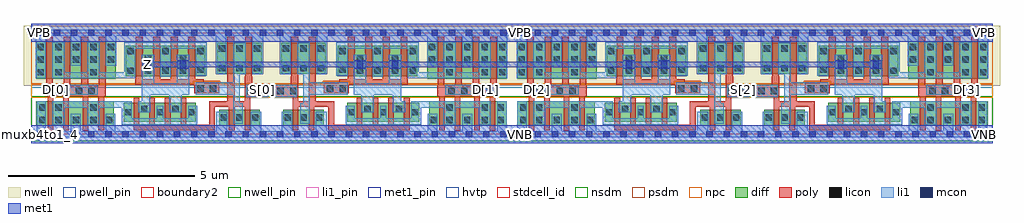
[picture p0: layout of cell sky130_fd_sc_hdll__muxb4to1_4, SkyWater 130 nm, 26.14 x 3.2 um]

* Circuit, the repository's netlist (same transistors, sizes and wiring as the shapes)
* Copyright 2020 The SkyWater PDK Authors
*
* Licensed under the Apache License, Version 2.0 (the "License");
* you may not use this file except in compliance with the License.
* You may obtain a copy of the License at
*
*     https://www.apache.org/licenses/LICENSE-2.0
*
* Unless required by applicable law or agreed to in writing, software
* distributed under the License is distributed on an "AS IS" BASIS,
* WITHOUT WARRANTIES OR CONDITIONS OF ANY KIND, either express or implied.
* See the License for the specific language governing permissions and
* limitations under the License.
*
* SPDX-License-Identifier: Apache-2.0

.SUBCKT sky130_fd_sc_hdll__muxb4to1_4 D[3] D[2] D[1] D[0] S[3] S[2] S[1] S[0] VGND VNB VPB VPWR Z
*.PININFO D[3]:I D[2]:I D[1]:I D[0]:I S[3]:I S[2]:I S[1]:I S[0]:I
*.PININFO VGND:I VNB:I VPB:I VPWR:I Z:O
MMNA00 Z S[0] net87 VNB sky130_fd_pr__nfet_01v8 m=4 w=0.52U l=0.15U mult=1 sa=0.265
+ sb=0.265 sd=0.28 area=0.063 perim=1.14
MMNA01 net87 D[0] VGND VNB sky130_fd_pr__nfet_01v8 m=4 w=0.65U l=0.15U mult=1 sa=0.265
+ sb=0.265 sd=0.28 area=0.063 perim=1.14
MMIN1 SB0 S[0] VGND VNB sky130_fd_pr__nfet_01v8 m=2 w=0.42U l=0.15U mult=1 sa=0.265
+ sb=0.265 sd=0.28 area=0.063 perim=1.14
MI30 Z S[2] net51 VNB sky130_fd_pr__nfet_01v8 m=4 w=0.52U l=0.15U mult=1 sa=0.265
+ sb=0.265 sd=0.28 area=0.063 perim=1.14
MI29 net51 D[2] VGND VNB sky130_fd_pr__nfet_01v8 m=4 w=0.65U l=0.15U mult=1 sa=0.265
+ sb=0.265 sd=0.28 area=0.063 perim=1.14
MI28 SB2 S[2] VGND VNB sky130_fd_pr__nfet_01v8 m=2 w=0.42U l=0.15U mult=1 sa=0.265
+ sb=0.265 sd=0.28 area=0.063 perim=1.14
MI27 SB3 S[3] VGND VNB sky130_fd_pr__nfet_01v8 m=2 w=0.42U l=0.15U mult=1 sa=0.265
+ sb=0.265 sd=0.28 area=0.063 perim=1.14
MI26 net63 D[3] VGND VNB sky130_fd_pr__nfet_01v8 m=4 w=0.65U l=0.15U mult=1 sa=0.265
+ sb=0.265 sd=0.28 area=0.063 perim=1.14
MI25 Z S[3] net63 VNB sky130_fd_pr__nfet_01v8 m=4 w=0.52U l=0.15U mult=1 sa=0.265
+ sb=0.265 sd=0.28 area=0.063 perim=1.14
MI13 Z S[1] net75 VNB sky130_fd_pr__nfet_01v8 m=4 w=0.52U l=0.15U mult=1 sa=0.265
+ sb=0.265 sd=0.28 area=0.063 perim=1.14
MI12 net75 D[1] VGND VNB sky130_fd_pr__nfet_01v8 m=4 w=0.65U l=0.15U mult=1 sa=0.265
+ sb=0.265 sd=0.28 area=0.063 perim=1.14
MI11 SB1 S[1] VGND VNB sky130_fd_pr__nfet_01v8 m=2 w=0.42U l=0.15U mult=1 sa=0.265
+ sb=0.265 sd=0.28 area=0.063 perim=1.14
MI35 net99 SB2 Z VPB sky130_fd_pr__pfet_01v8_hvt m=4 w=0.82U l=0.18U mult=1 sa=0.265
+ sb=0.265 sd=0.28 area=0.063 perim=1.14
MI34 SB2 S[2] VPWR VPB sky130_fd_pr__pfet_01v8_hvt m=2 w=0.82U l=0.18U mult=1 sa=0.265
+ sb=0.265 sd=0.28 area=0.063 perim=1.14
MMPA00 VPWR D[0] net135 VPB sky130_fd_pr__pfet_01v8_hvt m=4 w=1.0U l=0.18U mult=1
+ sa=0.265 sb=0.265 sd=0.28 area=0.063 perim=1.14
MMPA01 net135 SB0 Z VPB sky130_fd_pr__pfet_01v8_hvt m=4 w=0.82U l=0.18U mult=1
+ sa=0.265 sb=0.265 sd=0.28 area=0.063 perim=1.14
MI33 SB3 S[3] VPWR VPB sky130_fd_pr__pfet_01v8_hvt m=2 w=0.82U l=0.18U mult=1 sa=0.265
+ sb=0.265 sd=0.28 area=0.063 perim=1.14
MI32 net111 SB3 Z VPB sky130_fd_pr__pfet_01v8_hvt m=4 w=0.82U l=0.18U mult=1 sa=0.265
+ sb=0.265 sd=0.28 area=0.063 perim=1.14
MI31 VPWR D[3] net111 VPB sky130_fd_pr__pfet_01v8_hvt m=4 w=1.0U l=0.18U mult=1
+ sa=0.265 sb=0.265 sd=0.28 area=0.063 perim=1.14
MMIP1 SB0 S[0] VPWR VPB sky130_fd_pr__pfet_01v8_hvt m=2 w=0.82U l=0.18U mult=1
+ sa=0.265 sb=0.265 sd=0.28 area=0.063 perim=1.14
MI15 net123 SB1 Z VPB sky130_fd_pr__pfet_01v8_hvt m=4 w=0.82U l=0.18U mult=1 sa=0.265
+ sb=0.265 sd=0.28 area=0.063 perim=1.14
MI16 VPWR D[1] net123 VPB sky130_fd_pr__pfet_01v8_hvt m=4 w=1.0U l=0.18U mult=1
+ sa=0.265 sb=0.265 sd=0.28 area=0.063 perim=1.14
MI14 SB1 S[1] VPWR VPB sky130_fd_pr__pfet_01v8_hvt m=2 w=0.82U l=0.18U mult=1 sa=0.265
+ sb=0.265 sd=0.28 area=0.063 perim=1.14
MI36 VPWR D[2] net99 VPB sky130_fd_pr__pfet_01v8_hvt m=4 w=1.0U l=0.18U mult=1
+ sa=0.265 sb=0.265 sd=0.28 area=0.063 perim=1.14
.ENDS sky130_fd_sc_hdll__muxb4to1_4

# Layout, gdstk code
import gdstk
lib = gdstk.Library(unit=1e-6, precision=1e-09)
def R(c, l, rs):  # rectangles x0, y0, x1, y1
    for r in rs: c.add(gdstk.rectangle(r[:2], r[2:], *l))
def A(c, l, x, y, w, h, nx, ny, dx, dy):  # array of equal rectangles
    R(c, l, [(x+i*dx, y+j*dy, x+i*dx+w, y+j*dy+h) for i in range(nx) for j in range(ny)])
def P(c, l, *ps):  # polygons
    for p in ps: c.add(gdstk.Polygon(p, *l))
nwell_pin = (64, 16)
nwell = (64, 20)
diff = (65, 20)
poly = (66, 20)
licon = (66, 44)
li1_pin = (67, 16)
li1 = (67, 20)
mcon = (67, 44)
met1_pin = (68, 16)
met1 = (68, 20)
hvtp = (78, 44)
stdcell_id = (81, 4)
nsdm = (93, 44)
psdm = (94, 20)
npc = (95, 20)
pwell_pin = (122, 16)
boundary2 = (236, 0)

sky130_fd_sc_hdll__muxb4 = lib.new_cell('sky130_fd_sc_hdll__muxb4to1_4')
R(sky130_fd_sc_hdll__muxb4, nwell_pin, [(0.145,2.635,0.315,2.805), (0.145,2.635,0.315,2.805), (12.565,2.635,12.735,2.805), (13.025,2.635,13.195,2.805), (25.445,2.635,25.615,2.805)])
A(sky130_fd_sc_hdll__muxb4, nwell, -0.19, 1.305, 6.82, 1.605, 4, 1, 6.44, 0)
R(sky130_fd_sc_hdll__muxb4, diff, [(0.135,0.235,1.31,0.885), (1.09,0.235,2.215,0.885), (5.04,0.235,6.13,0.655), (6.75,0.235,7.84,0.655), (10.665,0.235,11.79,0.885), (11.57,0.235,12.745,0.885), (13.015,0.235,14.19,0.885), (13.97,0.235,15.095,0.885), (17.92,0.235,19.01,0.655), (19.63,0.235,20.72,0.655), (23.545,0.235,24.67,0.885), (24.45,0.235,25.625,0.885), (2.485,0.33,3.62,0.85), (3.325,0.33,4.415,0.85), (8.465,0.33,9.555,0.85), (9.26,0.33,10.395,0.85), (15.365,0.33,16.5,0.85), (16.205,0.33,17.295,0.85), (21.345,0.33,22.435,0.85), (22.14,0.33,23.275,0.85), (0.135,1.485,2.265,2.485), (10.615,1.485,12.745,2.485), (13.015,1.485,15.145,2.485), (23.495,1.485,25.625,2.485), (2.535,1.555,4.665,2.375), (8.215,1.555,10.345,2.375), (15.415,1.555,17.545,2.375), (21.095,1.555,23.225,2.375), (4.99,1.625,6.18,2.445), (6.7,1.625,7.89,2.445), (17.87,1.625,19.06,2.445), (19.58,1.625,20.77,2.445)])
A(sky130_fd_sc_hdll__muxb4, poly, 2.745, 0.105, 0.15, 0.875, 4, 1, 0.42, 0)
A(sky130_fd_sc_hdll__muxb4, poly, 8.725, 0.105, 0.15, 0.875, 4, 1, 0.42, 0)
A(sky130_fd_sc_hdll__muxb4, poly, 15.625, 0.105, 0.15, 0.875, 4, 1, 0.42, 0)
A(sky130_fd_sc_hdll__muxb4, poly, 21.605, 0.105, 0.15, 0.875, 4, 1, 0.42, 0)
R(sky130_fd_sc_hdll__muxb4, poly, [(2.745,0.105,4.865,0.255), (4.765,0.105,4.915,0.885), (5.3,0.105,5.45,0.885), (5.72,0.105,5.87,0.995), (7.01,0.105,7.16,0.995), (7.43,0.105,7.58,0.885), (7.965,0.105,8.115,0.885), (8.015,0.105,10.135,0.255), (15.625,0.105,17.745,0.255), (17.645,0.105,17.795,0.885), (18.18,0.105,18.33,0.885), (18.6,0.105,18.75,0.995), (19.89,0.105,20.04,0.995), (20.31,0.105,20.46,0.885), (20.845,0.105,20.995,0.885), (20.895,0.105,23.015,0.255), (4.765,0.735,5.87,0.885), (7.01,0.735,8.115,0.885), (17.645,0.735,18.75,0.885), (19.89,0.735,20.995,0.885), (5.72,0.995,5.99,1.325), (5.855,0.995,6.335,1.325), (6.545,0.995,7.025,1.325), (6.89,0.995,7.16,1.325), (18.6,0.995,18.87,1.325), (18.735,0.995,19.215,1.325), (19.425,0.995,19.905,1.325), (19.77,0.995,20.04,1.325), (4.37,1.095,4.725,1.365), (4.71,1.095,5.04,1.365), (7.84,1.095,8.17,1.365), (8.155,1.095,8.51,1.365), (17.25,1.095,17.605,1.365), (17.59,1.095,17.92,1.365), (20.72,1.095,21.05,1.365), (21.035,1.095,21.39,1.365), (2.795,1.325,4.625,1.475), (8.255,1.325,10.085,1.475), (15.675,1.325,17.505,1.475), (21.135,1.325,22.965,1.475)])
P(sky130_fd_sc_hdll__muxb4, poly, [(19.84,1.55),(19.85,1.55),(19.85,2.615),(20.03,2.615),(20.03,1.55),(20.04,1.55),(20.04,1.195),(19.84,1.195)],
  [(21.355,1.41),(21.365,1.41),(21.365,2.615),(21.545,2.615),(21.545,1.41),(21.555,1.41),(21.555,1.325),(21.355,1.325)],
  [(20.51,1.55),(20.5,1.55),(20.5,2.615),(20.32,2.615),(20.32,1.55),(20.31,1.55),(20.31,0.885),(20.51,0.885)],
  [(21.825,1.41),(21.835,1.41),(21.835,2.615),(22.015,2.615),(22.015,1.41),(22.025,1.41),(22.025,1.325),(21.825,1.325)],
  [(22.295,1.41),(22.305,1.41),(22.305,2.615),(22.485,2.615),(22.485,1.41),(22.495,1.41),(22.495,1.325),(22.295,1.325)],
  [(22.765,1.41),(22.775,1.41),(22.775,2.615),(22.955,2.615),(22.955,1.41),(22.965,1.41),(22.965,1.325),(22.765,1.325)],
  [(23.755,1.295),(23.765,1.295),(23.765,2.615),(23.945,2.615),(23.945,1.295),(24.235,1.295),(24.235,2.615),(24.415,2.615),(24.415,1.295),(24.725,1.295),(24.725,1.025),(24.375,1.025),(24.375,0.095),(24.225,0.095),(24.225,1.025),(23.955,1.025),(23.955,0.105),(23.805,0.105),(23.805,1.025),(23.755,1.025)],
  [(24.695,1.295),(24.705,1.295),(24.705,2.615),(24.885,2.615),(24.885,1.295),(25.175,1.295),(25.175,2.615),(25.355,2.615),(25.355,1.295),(25.365,1.295),(25.365,1.025),(25.315,1.025),(25.315,0.095),(25.165,0.095),(25.165,1.025),(24.895,1.025),(24.895,0.105),(24.745,0.105),(24.745,1.025),(24.695,1.025)],
  [(18.8,1.55),(18.79,1.55),(18.79,2.615),(18.61,2.615),(18.61,1.55),(18.6,1.55),(18.6,1.195),(18.8,1.195)],
  [(17.285,1.41),(17.275,1.41),(17.275,2.615),(17.095,2.615),(17.095,1.41),(17.085,1.41),(17.085,1.325),(17.285,1.325)],
  [(18.13,1.55),(18.14,1.55),(18.14,2.615),(18.32,2.615),(18.32,1.55),(18.33,1.55),(18.33,0.885),(18.13,0.885)],
  [(16.815,1.41),(16.805,1.41),(16.805,2.615),(16.625,2.615),(16.625,1.41),(16.615,1.41),(16.615,1.325),(16.815,1.325)],
  [(16.345,1.41),(16.335,1.41),(16.335,2.615),(16.155,2.615),(16.155,1.41),(16.145,1.41),(16.145,1.325),(16.345,1.325)],
  [(15.875,1.41),(15.865,1.41),(15.865,2.615),(15.685,2.615),(15.685,1.41),(15.675,1.41),(15.675,1.325),(15.875,1.325)],
  [(14.885,1.295),(14.875,1.295),(14.875,2.615),(14.695,2.615),(14.695,1.295),(14.405,1.295),(14.405,2.615),(14.225,2.615),(14.225,1.295),(13.915,1.295),(13.915,1.025),(14.265,1.025),(14.265,0.095),(14.415,0.095),(14.415,1.025),(14.685,1.025),(14.685,0.105),(14.835,0.105),(14.835,1.025),(14.885,1.025)],
  [(13.945,1.295),(13.935,1.295),(13.935,2.615),(13.755,2.615),(13.755,1.295),(13.465,1.295),(13.465,2.615),(13.285,2.615),(13.285,1.295),(13.275,1.295),(13.275,1.025),(13.325,1.025),(13.325,0.095),(13.475,0.095),(13.475,1.025),(13.745,1.025),(13.745,0.105),(13.895,0.105),(13.895,1.025),(13.945,1.025)],
  [(6.96,1.55),(6.97,1.55),(6.97,2.615),(7.15,2.615),(7.15,1.55),(7.16,1.55),(7.16,1.195),(6.96,1.195)],
  [(8.475,1.41),(8.485,1.41),(8.485,2.615),(8.665,2.615),(8.665,1.41),(8.675,1.41),(8.675,1.325),(8.475,1.325)],
  [(7.63,1.55),(7.62,1.55),(7.62,2.615),(7.44,2.615),(7.44,1.55),(7.43,1.55),(7.43,0.885),(7.63,0.885)],
  [(8.945,1.41),(8.955,1.41),(8.955,2.615),(9.135,2.615),(9.135,1.41),(9.145,1.41),(9.145,1.325),(8.945,1.325)],
  [(9.415,1.41),(9.425,1.41),(9.425,2.615),(9.605,2.615),(9.605,1.41),(9.615,1.41),(9.615,1.325),(9.415,1.325)],
  [(9.885,1.41),(9.895,1.41),(9.895,2.615),(10.075,2.615),(10.075,1.41),(10.085,1.41),(10.085,1.325),(9.885,1.325)],
  [(10.875,1.295),(10.885,1.295),(10.885,2.615),(11.065,2.615),(11.065,1.295),(11.355,1.295),(11.355,2.615),(11.535,2.615),(11.535,1.295),(11.845,1.295),(11.845,1.025),(11.495,1.025),(11.495,0.095),(11.345,0.095),(11.345,1.025),(11.075,1.025),(11.075,0.105),(10.925,0.105),(10.925,1.025),(10.875,1.025)],
  [(11.815,1.295),(11.825,1.295),(11.825,2.615),(12.005,2.615),(12.005,1.295),(12.295,1.295),(12.295,2.615),(12.475,2.615),(12.475,1.295),(12.485,1.295),(12.485,1.025),(12.435,1.025),(12.435,0.095),(12.285,0.095),(12.285,1.025),(12.015,1.025),(12.015,0.105),(11.865,0.105),(11.865,1.025),(11.815,1.025)],
  [(5.92,1.55),(5.91,1.55),(5.91,2.615),(5.73,2.615),(5.73,1.55),(5.72,1.55),(5.72,1.195),(5.92,1.195)],
  [(4.405,1.41),(4.395,1.41),(4.395,2.615),(4.215,2.615),(4.215,1.41),(4.205,1.41),(4.205,1.325),(4.405,1.325)],
  [(5.25,1.55),(5.26,1.55),(5.26,2.615),(5.44,2.615),(5.44,1.55),(5.45,1.55),(5.45,0.885),(5.25,0.885)],
  [(3.935,1.41),(3.925,1.41),(3.925,2.615),(3.745,2.615),(3.745,1.41),(3.735,1.41),(3.735,1.325),(3.935,1.325)],
  [(3.465,1.41),(3.455,1.41),(3.455,2.615),(3.275,2.615),(3.275,1.41),(3.265,1.41),(3.265,1.325),(3.465,1.325)],
  [(2.995,1.41),(2.985,1.41),(2.985,2.615),(2.805,2.615),(2.805,1.41),(2.795,1.41),(2.795,1.325),(2.995,1.325)],
  [(2.005,1.295),(1.995,1.295),(1.995,2.615),(1.815,2.615),(1.815,1.295),(1.525,1.295),(1.525,2.615),(1.345,2.615),(1.345,1.295),(1.035,1.295),(1.035,1.025),(1.385,1.025),(1.385,0.095),(1.535,0.095),(1.535,1.025),(1.805,1.025),(1.805,0.105),(1.955,0.105),(1.955,1.025),(2.005,1.025)],
  [(1.065,1.295),(1.055,1.295),(1.055,2.615),(0.875,2.615),(0.875,1.295),(0.585,1.295),(0.585,2.615),(0.405,2.615),(0.405,1.295),(0.395,1.295),(0.395,1.025),(0.445,1.025),(0.445,0.095),(0.595,0.095),(0.595,1.025),(0.865,1.025),(0.865,0.105),(1.015,0.105),(1.015,1.025),(1.065,1.025)])
A(sky130_fd_sc_hdll__muxb4, licon, 0.645, 0.295, 0.17, 0.17, 3, 1, 0.47, 0)
A(sky130_fd_sc_hdll__muxb4, licon, 11.125, 0.295, 0.17, 0.17, 3, 1, 0.47, 0)
A(sky130_fd_sc_hdll__muxb4, licon, 13.525, 0.295, 0.17, 0.17, 3, 1, 0.47, 0)
A(sky130_fd_sc_hdll__muxb4, licon, 24.005, 0.295, 0.17, 0.17, 3, 1, 0.47, 0)
A(sky130_fd_sc_hdll__muxb4, licon, 5.08, 0.36, 0.17, 0.17, 3, 1, 0.42, 0)
A(sky130_fd_sc_hdll__muxb4, licon, 6.79, 0.36, 0.17, 0.17, 3, 1, 0.42, 0)
A(sky130_fd_sc_hdll__muxb4, licon, 17.96, 0.36, 0.17, 0.17, 3, 1, 0.42, 0)
A(sky130_fd_sc_hdll__muxb4, licon, 19.67, 0.36, 0.17, 0.17, 3, 1, 0.42, 0)
A(sky130_fd_sc_hdll__muxb4, licon, 2.525, 0.505, 0.17, 0.17, 3, 1, 0.84, 0)
A(sky130_fd_sc_hdll__muxb4, licon, 8.505, 0.505, 0.17, 0.17, 3, 1, 0.84, 0)
A(sky130_fd_sc_hdll__muxb4, licon, 15.405, 0.505, 0.17, 0.17, 3, 1, 0.84, 0)
A(sky130_fd_sc_hdll__muxb4, licon, 21.385, 0.505, 0.17, 0.17, 3, 1, 0.84, 0)
A(sky130_fd_sc_hdll__muxb4, licon, 0.515, 1.075, 0.17, 0.17, 4, 1, 0.34, 0)
A(sky130_fd_sc_hdll__muxb4, licon, 11.175, 1.075, 0.17, 0.17, 4, 1, 0.34, 0)
A(sky130_fd_sc_hdll__muxb4, licon, 13.395, 1.075, 0.17, 0.17, 4, 1, 0.34, 0)
A(sky130_fd_sc_hdll__muxb4, licon, 24.055, 1.075, 0.17, 0.17, 4, 1, 0.34, 0)
A(sky130_fd_sc_hdll__muxb4, licon, 2.575, 1.615, 0.17, 0.17, 4, 1, 0.47, 0)
A(sky130_fd_sc_hdll__muxb4, licon, 8.725, 1.615, 0.17, 0.17, 4, 1, 0.47, 0)
A(sky130_fd_sc_hdll__muxb4, licon, 15.455, 1.615, 0.17, 0.17, 4, 1, 0.47, 0)
A(sky130_fd_sc_hdll__muxb4, licon, 21.605, 1.615, 0.17, 0.17, 4, 1, 0.47, 0)
A(sky130_fd_sc_hdll__muxb4, licon, 5.03, 1.685, 0.17, 0.17, 3, 2, 0.47, 0.53)
A(sky130_fd_sc_hdll__muxb4, licon, 6.74, 1.685, 0.17, 0.17, 3, 2, 0.47, 0.53)
A(sky130_fd_sc_hdll__muxb4, licon, 17.91, 1.685, 0.17, 0.17, 3, 2, 0.47, 0.53)
A(sky130_fd_sc_hdll__muxb4, licon, 19.62, 1.685, 0.17, 0.17, 3, 2, 0.47, 0.53)
A(sky130_fd_sc_hdll__muxb4, licon, 0.175, 1.915, 0.17, 0.17, 5, 2, 0.47, 0.34)
A(sky130_fd_sc_hdll__muxb4, licon, 10.655, 1.915, 0.17, 0.17, 5, 2, 0.47, 0.34)
A(sky130_fd_sc_hdll__muxb4, licon, 13.055, 1.915, 0.17, 0.17, 5, 2, 0.47, 0.34)
A(sky130_fd_sc_hdll__muxb4, licon, 23.535, 1.915, 0.17, 0.17, 5, 2, 0.47, 0.34)
A(sky130_fd_sc_hdll__muxb4, licon, 2.575, 2.145, 0.17, 0.17, 3, 1, 0.94, 0)
A(sky130_fd_sc_hdll__muxb4, licon, 8.255, 2.145, 0.17, 0.17, 3, 1, 0.94, 0)
A(sky130_fd_sc_hdll__muxb4, licon, 15.455, 2.145, 0.17, 0.17, 3, 1, 0.94, 0)
A(sky130_fd_sc_hdll__muxb4, licon, 21.135, 2.145, 0.17, 0.17, 3, 1, 0.94, 0)
R(sky130_fd_sc_hdll__muxb4, licon, [(0.225,0.295,0.395,0.465), (2.005,0.295,2.175,0.465), (10.705,0.295,10.875,0.465), (12.485,0.295,12.655,0.465), (13.105,0.295,13.275,0.465), (14.885,0.295,15.055,0.465), (23.585,0.295,23.755,0.465), (25.365,0.295,25.535,0.465), (2.945,0.595,3.115,0.765), (3.785,0.595,3.955,0.765), (8.925,0.595,9.095,0.765), (9.765,0.595,9.935,0.765), (15.825,0.595,15.995,0.765), (16.665,0.595,16.835,0.765), (21.805,0.595,21.975,0.765), (22.645,0.595,22.815,0.765), (0.225,0.635,0.395,0.805), (0.645,0.635,0.815,0.805), (1.585,0.635,1.755,0.805), (11.125,0.635,11.295,0.805), (12.065,0.635,12.235,0.805), (12.485,0.635,12.655,0.805), (13.105,0.635,13.275,0.805), (13.525,0.635,13.695,0.805), (14.465,0.635,14.635,0.805), (24.005,0.635,24.175,0.805), (24.945,0.635,25.115,0.805), (25.365,0.635,25.535,0.805), (5.775,1.075,5.945,1.245), (6.115,1.075,6.285,1.245), (6.595,1.075,6.765,1.245), (6.935,1.075,7.105,1.245), (18.655,1.075,18.825,1.245), (18.995,1.075,19.165,1.245), (19.475,1.075,19.645,1.245), (19.815,1.075,19.985,1.245), (4.45,1.145,4.62,1.315), (4.79,1.145,4.96,1.315), (7.92,1.145,8.09,1.315), (8.26,1.145,8.43,1.315), (17.33,1.145,17.5,1.315), (17.67,1.145,17.84,1.315), (20.8,1.145,20.97,1.315), (21.14,1.145,21.31,1.315), (0.175,1.575,0.345,1.745), (0.645,1.575,0.815,1.745), (1.585,1.575,1.755,1.745), (11.125,1.575,11.295,1.745), (12.065,1.575,12.235,1.745), (12.535,1.575,12.705,1.745), (13.055,1.575,13.225,1.745), (13.525,1.575,13.695,1.745), (14.465,1.575,14.635,1.745), (24.005,1.575,24.175,1.745), (24.945,1.575,25.115,1.745), (25.415,1.575,25.585,1.745), (4.455,1.645,4.625,1.815), (8.255,1.645,8.425,1.815), (17.335,1.645,17.505,1.815), (21.135,1.645,21.305,1.815), (3.045,1.955,3.215,2.125), (3.985,1.955,4.155,2.125), (8.725,1.955,8.895,2.125), (9.665,1.955,9.835,2.125), (15.925,1.955,16.095,2.125), (16.865,1.955,17.035,2.125), (21.605,1.955,21.775,2.125), (22.545,1.955,22.715,2.125)])
R(sky130_fd_sc_hdll__muxb4, li1_pin, [(0.605,1.105,0.775,1.275), (0.605,1.105,0.775,1.275), (6.125,1.105,6.295,1.275), (6.125,1.105,6.295,1.275), (6.585,1.105,6.755,1.275), (6.585,1.105,6.755,1.275), (12.105,1.105,12.275,1.275), (12.105,1.105,12.275,1.275), (13.485,1.105,13.655,1.275), (13.485,1.105,13.655,1.28), (19.005,1.105,19.175,1.275), (19.005,1.105,19.175,1.275), (19.465,1.105,19.635,1.275), (19.465,1.105,19.635,1.275), (24.985,1.105,25.155,1.275), (24.985,1.105,25.155,1.275)])
A(sky130_fd_sc_hdll__muxb4, li1, 0, -0.085, 6.44, 0.17, 4, 2, 6.44, 2.72)
R(sky130_fd_sc_hdll__muxb4, li1, [(0.145,0.085,0.395,0.885), (1.065,0.085,1.335,0.545), (2.005,0.085,2.255,0.545), (4.96,0.085,5.25,0.61), (5.88,0.085,6.17,0.61), (6.71,0.085,7,0.61), (7.63,0.085,7.92,0.61), (10.625,0.085,10.875,0.545), (11.545,0.085,11.815,0.545), (12.485,0.085,12.735,0.885), (13.025,0.085,13.275,0.885), (13.945,0.085,14.215,0.545), (14.885,0.085,15.135,0.545), (17.84,0.085,18.13,0.61), (18.76,0.085,19.05,0.61), (19.59,0.085,19.88,0.61), (20.51,0.085,20.8,0.61), (23.505,0.085,23.755,0.545), (24.425,0.085,24.695,0.545), (25.365,0.085,25.615,0.885), (5.76,0.995,6.355,1.325), (6.525,0.995,7.12,1.325), (18.64,0.995,19.235,1.325), (19.405,0.995,20,1.325), (0.395,1.055,1.785,1.325), (11.095,1.055,12.485,1.325), (13.275,1.055,14.665,1.325), (23.975,1.055,25.365,1.325), (4.405,1.065,5.42,1.395), (7.46,1.065,8.475,1.395), (17.285,1.065,18.3,1.395), (20.34,1.065,21.355,1.395), (0.125,1.495,0.395,2.635), (12.485,1.495,12.755,2.635), (13.005,1.495,13.275,2.635), (25.365,1.495,25.635,2.635), (4.95,1.605,5.225,2.635), (5.92,1.605,6.22,2.635), (6.66,1.605,6.96,2.635), (7.655,1.605,7.93,2.635), (17.83,1.605,18.105,2.635), (18.8,1.605,19.1,2.635), (19.54,1.605,19.84,2.635), (20.535,1.605,20.81,2.635), (1.065,1.835,1.335,2.635), (2.005,1.835,2.275,2.635), (10.605,1.835,10.875,2.635), (11.545,1.835,11.815,2.635), (13.945,1.835,14.215,2.635), (14.885,1.835,15.155,2.635), (23.485,1.835,23.755,2.635), (24.425,1.835,24.695,2.635)])
P(sky130_fd_sc_hdll__muxb4, li1, [(20.09,0.825),(20.17,0.825),(20.17,1.605),(20.01,1.605),(20.01,2.465),(20.34,2.465),(20.34,0.28),(20.09,0.28)],
  [(21.525,2.125),(21.855,2.125),(21.855,1.365),(22.465,1.365),(22.465,2.125),(22.795,2.125),(22.795,0.885),(22.895,0.885),(22.895,0.595),(22.565,0.595),(22.565,1.065),(22.055,1.065),(22.055,0.595),(21.725,0.595),(21.725,1.065),(21.525,1.065)],
  [(21.305,0.77),(21.555,0.77),(21.555,0.425),(22.225,0.425),(22.225,0.77),(22.395,0.77),(22.395,0.255),(21.305,0.255)],
  [(21.055,2.465),(23.265,2.465),(23.265,1.495),(22.965,1.495),(22.965,2.295),(22.295,2.295),(22.295,1.535),(22.025,1.535),(22.025,2.295),(21.355,2.295),(21.355,1.565),(21.055,1.565)],
  [(23.925,2.465),(24.255,2.465),(24.255,1.665),(24.865,1.665),(24.865,2.465),(25.195,2.465),(25.195,1.495),(23.925,1.495)],
  [(22.965,2.465),(23.265,2.465),(23.265,1.665),(23.925,1.665),(23.925,1.495),(22.965,1.495)],
  [(22.225,0.77),(22.395,0.77),(22.395,0.425),(23.065,0.425),(23.065,0.885),(25.195,0.885),(25.195,0.255),(24.865,0.255),(24.865,0.715),(24.255,0.715),(24.255,0.255),(23.925,0.255),(23.925,0.715),(23.335,0.715),(23.335,0.255),(22.225,0.255)],
  [(18.55,0.825),(18.47,0.825),(18.47,1.605),(18.63,1.605),(18.63,2.465),(18.3,2.465),(18.3,0.28),(18.55,0.28)],
  [(17.115,2.125),(16.785,2.125),(16.785,1.365),(16.175,1.365),(16.175,2.125),(15.845,2.125),(15.845,0.885),(15.745,0.885),(15.745,0.595),(16.075,0.595),(16.075,1.065),(16.585,1.065),(16.585,0.595),(16.915,0.595),(16.915,1.065),(17.115,1.065)],
  [(17.335,0.77),(17.085,0.77),(17.085,0.425),(16.415,0.425),(16.415,0.77),(16.245,0.77),(16.245,0.255),(17.335,0.255)],
  [(17.585,2.465),(15.375,2.465),(15.375,1.495),(15.675,1.495),(15.675,2.295),(16.345,2.295),(16.345,1.535),(16.615,1.535),(16.615,2.295),(17.285,2.295),(17.285,1.565),(17.585,1.565)],
  [(14.715,2.465),(14.385,2.465),(14.385,1.665),(13.775,1.665),(13.775,2.465),(13.445,2.465),(13.445,1.495),(14.715,1.495)],
  [(15.675,2.465),(15.375,2.465),(15.375,1.665),(14.715,1.665),(14.715,1.495),(15.675,1.495)],
  [(16.415,0.77),(16.245,0.77),(16.245,0.425),(15.575,0.425),(15.575,0.885),(13.445,0.885),(13.445,0.255),(13.775,0.255),(13.775,0.715),(14.385,0.715),(14.385,0.255),(14.715,0.255),(14.715,0.715),(15.305,0.715),(15.305,0.255),(16.415,0.255)],
  [(7.21,0.825),(7.29,0.825),(7.29,1.605),(7.13,1.605),(7.13,2.465),(7.46,2.465),(7.46,0.28),(7.21,0.28)],
  [(8.645,2.125),(8.975,2.125),(8.975,1.365),(9.585,1.365),(9.585,2.125),(9.915,2.125),(9.915,0.885),(10.015,0.885),(10.015,0.595),(9.685,0.595),(9.685,1.065),(9.175,1.065),(9.175,0.595),(8.845,0.595),(8.845,1.065),(8.645,1.065)],
  [(8.425,0.77),(8.675,0.77),(8.675,0.425),(9.345,0.425),(9.345,0.77),(9.515,0.77),(9.515,0.255),(8.425,0.255)],
  [(8.175,2.465),(10.385,2.465),(10.385,1.495),(10.085,1.495),(10.085,2.295),(9.415,2.295),(9.415,1.535),(9.145,1.535),(9.145,2.295),(8.475,2.295),(8.475,1.565),(8.175,1.565)],
  [(11.045,2.465),(11.375,2.465),(11.375,1.665),(11.985,1.665),(11.985,2.465),(12.315,2.465),(12.315,1.495),(11.045,1.495)],
  [(10.085,2.465),(10.385,2.465),(10.385,1.665),(11.045,1.665),(11.045,1.495),(10.085,1.495)],
  [(9.345,0.77),(9.515,0.77),(9.515,0.425),(10.185,0.425),(10.185,0.885),(12.315,0.885),(12.315,0.255),(11.985,0.255),(11.985,0.715),(11.375,0.715),(11.375,0.255),(11.045,0.255),(11.045,0.715),(10.455,0.715),(10.455,0.255),(9.345,0.255)],
  [(5.67,0.825),(5.59,0.825),(5.59,1.605),(5.75,1.605),(5.75,2.465),(5.42,2.465),(5.42,0.28),(5.67,0.28)],
  [(4.235,2.125),(3.905,2.125),(3.905,1.365),(3.295,1.365),(3.295,2.125),(2.965,2.125),(2.965,0.885),(2.865,0.885),(2.865,0.595),(3.195,0.595),(3.195,1.065),(3.705,1.065),(3.705,0.595),(4.035,0.595),(4.035,1.065),(4.235,1.065)],
  [(4.455,0.77),(4.205,0.77),(4.205,0.425),(3.535,0.425),(3.535,0.77),(3.365,0.77),(3.365,0.255),(4.455,0.255)],
  [(4.705,2.465),(2.495,2.465),(2.495,1.495),(2.795,1.495),(2.795,2.295),(3.465,2.295),(3.465,1.535),(3.735,1.535),(3.735,2.295),(4.405,2.295),(4.405,1.565),(4.705,1.565)],
  [(1.835,2.465),(1.505,2.465),(1.505,1.665),(0.895,1.665),(0.895,2.465),(0.565,2.465),(0.565,1.495),(1.835,1.495)],
  [(2.795,2.465),(2.495,2.465),(2.495,1.665),(1.835,1.665),(1.835,1.495),(2.795,1.495)],
  [(3.535,0.77),(3.365,0.77),(3.365,0.425),(2.695,0.425),(2.695,0.885),(0.565,0.885),(0.565,0.255),(0.895,0.255),(0.895,0.715),(1.505,0.715),(1.505,0.255),(1.835,0.255),(1.835,0.715),(2.425,0.715),(2.425,0.255),(3.535,0.255)])
A(sky130_fd_sc_hdll__muxb4, mcon, 0.145, -0.085, 0.17, 0.17, 56, 2, 0.46, 2.72)
R(sky130_fd_sc_hdll__muxb4, mcon, [(3.045,1.785,3.215,1.955), (3.985,1.785,4.155,1.955), (8.725,1.785,8.895,1.955), (9.665,1.785,9.835,1.955), (15.925,1.785,16.095,1.955), (16.865,1.785,17.035,1.955), (21.605,1.785,21.775,1.955), (22.545,1.785,22.715,1.955)])
R(sky130_fd_sc_hdll__muxb4, met1_pin, [(0.145,-0.085,0.315,0.085), (0.145,-0.085,0.315,0.085), (12.565,-0.085,12.735,0.085), (13.025,-0.085,13.195,0.085), (25.445,-0.085,25.615,0.085), (3.045,1.785,3.215,1.955), (3.925,1.785,4.095,1.955), (8.785,1.785,8.955,1.955), (16.805,1.785,16.975,1.955), (21.665,1.785,21.835,1.955), (0.145,2.635,0.315,2.805), (0.145,2.635,0.315,2.805), (12.565,2.635,12.735,2.805), (13.025,2.635,13.195,2.805), (25.445,2.635,25.615,2.805)])
A(sky130_fd_sc_hdll__muxb4, met1, 0, -0.24, 6.44, 0.48, 4, 2, 6.44, 2.72)
R(sky130_fd_sc_hdll__muxb4, met1, [(2.985,1.755,3.275,1.985), (3.925,1.755,4.215,1.985), (8.665,1.755,8.955,1.985), (9.605,1.755,9.895,1.985), (15.865,1.755,16.155,1.985), (16.805,1.755,17.095,1.985), (21.545,1.755,21.835,1.985), (22.485,1.755,22.775,1.985), (2.985,1.8,4.215,1.94), (2.985,1.8,22.775,1.94), (8.665,1.8,9.895,1.94), (15.865,1.8,17.095,1.94), (21.545,1.8,22.775,1.94)])
A(sky130_fd_sc_hdll__muxb4, hvtp, 0, 1.25, 6.44, 1.47, 4, 1, 6.44, 0)
R(sky130_fd_sc_hdll__muxb4, stdcell_id, [(0,0,25.76,2.72)])
A(sky130_fd_sc_hdll__muxb4, nsdm, 0, -0.19, 6.44, 1.205, 4, 1, 6.44, 0)
P(sky130_fd_sc_hdll__muxb4, psdm, [(19.32,2.91),(25.76,2.91),(25.76,1.355),(21.42,1.355),(21.42,1.425),(20.69,1.425),(20.69,1.355),(19.32,1.355)],
  [(19.32,2.91),(12.88,2.91),(12.88,1.355),(17.22,1.355),(17.22,1.425),(17.95,1.425),(17.95,1.355),(19.32,1.355)],
  [(6.44,2.91),(12.88,2.91),(12.88,1.355),(8.54,1.355),(8.54,1.425),(7.81,1.425),(7.81,1.355),(6.44,1.355)],
  [(6.44,2.91),(0,2.91),(0,1.355),(4.34,1.355),(4.34,1.425),(5.07,1.425),(5.07,1.355),(6.44,1.355)])
P(sky130_fd_sc_hdll__muxb4, npc, [(19.32,1.345),(20.7,1.345),(20.7,1.415),(21.41,1.415),(21.41,1.345),(25.76,1.345),(25.76,0.975),(19.32,0.975)],
  [(19.32,1.345),(17.94,1.345),(17.94,1.415),(17.23,1.415),(17.23,1.345),(12.88,1.345),(12.88,0.975),(19.32,0.975)],
  [(6.44,1.345),(7.82,1.345),(7.82,1.415),(8.53,1.415),(8.53,1.345),(12.88,1.345),(12.88,0.975),(6.44,0.975)],
  [(6.44,1.345),(5.06,1.345),(5.06,1.415),(4.35,1.415),(4.35,1.345),(0,1.345),(0,0.975),(6.44,0.975)])
R(sky130_fd_sc_hdll__muxb4, pwell_pin, [(0.145,-0.085,0.315,0.085), (0.145,-0.085,0.315,0.085), (12.565,-0.085,12.735,0.085), (13.025,-0.085,13.195,0.085), (25.445,-0.085,25.615,0.085)])
R(sky130_fd_sc_hdll__muxb4, boundary2, [(0,0,25.76,2.72)])
sky130_fd_sc_hdll__muxb4.add(gdstk.Label('muxb4to1_4', (0,0), layer=83, texttype=44))
sky130_fd_sc_hdll__muxb4.add(gdstk.Label('VPB', (0.23,2.72), layer=64, texttype=5))
sky130_fd_sc_hdll__muxb4.add(gdstk.Label('VPB', (25.53,2.72), layer=64, texttype=5))
sky130_fd_sc_hdll__muxb4.add(gdstk.Label('VPB', (13.11,2.72), layer=64, texttype=5))
sky130_fd_sc_hdll__muxb4.add(gdstk.Label('VPB', (12.65,2.72), layer=64, texttype=5))
sky130_fd_sc_hdll__muxb4.add(gdstk.Label('VPB', (0.23,2.72), layer=64, texttype=5))
sky130_fd_sc_hdll__muxb4.add(gdstk.Label('VNB', (0.23,0), layer=64, texttype=59))
sky130_fd_sc_hdll__muxb4.add(gdstk.Label('VNB', (25.53,0), layer=64, texttype=59))
sky130_fd_sc_hdll__muxb4.add(gdstk.Label('VNB', (13.11,0), layer=64, texttype=59))
sky130_fd_sc_hdll__muxb4.add(gdstk.Label('VNB', (12.65,0), layer=64, texttype=59))
sky130_fd_sc_hdll__muxb4.add(gdstk.Label('VNB', (0.23,0), layer=64, texttype=59))
sky130_fd_sc_hdll__muxb4.add(gdstk.Label('VGND', (0.23,0), layer=68, texttype=5))
sky130_fd_sc_hdll__muxb4.add(gdstk.Label('VPWR', (0.23,2.72), layer=68, texttype=5))
sky130_fd_sc_hdll__muxb4.add(gdstk.Label('Z', (3.13,1.87), layer=68, texttype=5))
sky130_fd_sc_hdll__muxb4.add(gdstk.Label('VGND', (25.53,0), layer=68, texttype=5))
sky130_fd_sc_hdll__muxb4.add(gdstk.Label('VPWR', (25.53,2.72), layer=68, texttype=5))
sky130_fd_sc_hdll__muxb4.add(gdstk.Label('VGND', (13.11,0), layer=68, texttype=5))
sky130_fd_sc_hdll__muxb4.add(gdstk.Label('VPWR', (13.11,2.72), layer=68, texttype=5))
sky130_fd_sc_hdll__muxb4.add(gdstk.Label('VGND', (12.65,0), layer=68, texttype=5))
sky130_fd_sc_hdll__muxb4.add(gdstk.Label('VPWR', (12.65,2.72), layer=68, texttype=5))
sky130_fd_sc_hdll__muxb4.add(gdstk.Label('VGND', (0.23,0), layer=68, texttype=5))
sky130_fd_sc_hdll__muxb4.add(gdstk.Label('VPWR', (0.23,2.72), layer=68, texttype=5))
sky130_fd_sc_hdll__muxb4.add(gdstk.Label('S[0]', (6.21,1.19), layer=67, texttype=5))
sky130_fd_sc_hdll__muxb4.add(gdstk.Label('S[1]', (6.67,1.19), layer=67, texttype=5))
sky130_fd_sc_hdll__muxb4.add(gdstk.Label('D[1]', (12.19,1.19), layer=67, texttype=5))
sky130_fd_sc_hdll__muxb4.add(gdstk.Label('D[2]', (13.57,1.19), layer=67, texttype=5))
sky130_fd_sc_hdll__muxb4.add(gdstk.Label('S[2]', (19.09,1.19), layer=67, texttype=5))
sky130_fd_sc_hdll__muxb4.add(gdstk.Label('S[3]', (19.55,1.19), layer=67, texttype=5))
sky130_fd_sc_hdll__muxb4.add(gdstk.Label('D[3]', (25.07,1.19), layer=67, texttype=5))
sky130_fd_sc_hdll__muxb4.add(gdstk.Label('D[0]', (0.69,1.19), layer=67, texttype=5))

lib.write_gds('sky130_fd_sc_hdll__muxb4to1_4.gds')
